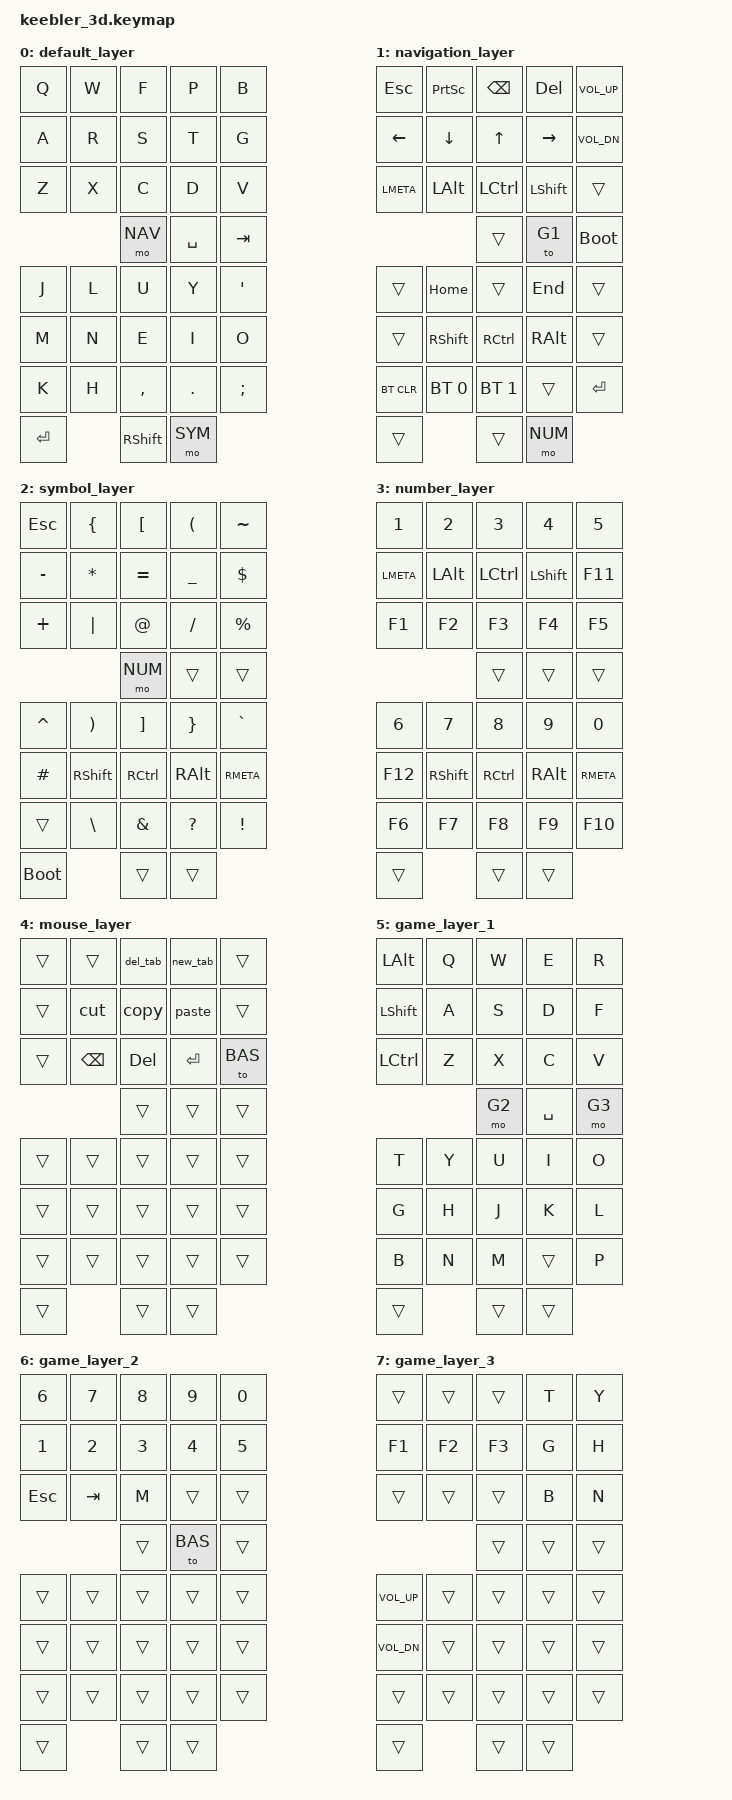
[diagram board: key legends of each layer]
#include <behaviors.dtsi>
#include <dt-bindings/zmk/keys.h>
#include <dt-bindings/zmk/bt.h>

#define BAS 0  // base
#define NAV 1  // navigation
#define SYM 2  // symbols
#define NUM 3  // numbers
#define MOU 4  // mouse
#define G1 5   // game_1
#define G2 6   // game_2
#define G3 7   // game_3

/ {
  macros {
    cut: cut {
      compatible = "zmk,behavior-macro";
      #binding-cells = <0>;
      bindings
        = <&macro_press &kp LCTRL>
        , <&macro_tap &kp X>
        , <&macro_release &kp LCTRL>
        ;
    };
    copy: copy {
      compatible = "zmk,behavior-macro";
      #binding-cells = <0>;
      bindings
        = <&macro_press &kp LCTRL>
        , <&macro_tap &kp C>
        , <&macro_release &kp LCTRL>
        ;
    };
    paste: paste {
      compatible = "zmk,behavior-macro";
      #binding-cells = <0>;
      bindings
        = <&macro_press &kp LCTRL>
        , <&macro_tap &kp V>
        , <&macro_release &kp LCTRL>
        ;
    };
    new_tab: new_tab {
      compatible = "zmk,behavior-macro";
      #binding-cells = <0>;
      bindings
        = <&macro_press &kp LCTRL>
        , <&macro_tap &kp T>
        , <&macro_release &kp LCTRL>
        ;
    };
    del_tab: del_tab {
      compatible = "zmk,behavior-macro";
      #binding-cells = <0>;
      bindings
        = <&macro_press &kp LCTRL>
        , <&macro_tap &kp W>
        , <&macro_release &kp LCTRL>
        ;
    };
  };

  keymap {
    compatible = "zmk,keymap";

    default_layer {
      bindings = <
&kp Q  &kp W  &kp F    &kp P      &kp B
&kp A  &kp R  &kp S    &kp T      &kp G
&kp Z  &kp X  &kp C    &kp D      &kp V
              &mo NAV  &kp SPACE  &kp TAB

&kp J      &kp L       &kp U      &kp Y    &kp SQT
&kp M      &kp N       &kp E      &kp I    &kp O
&kp K      &kp H       &kp COMMA  &kp DOT  &kp SEMI
&kp ENTER  &kp RSHIFT  &mo SYM
      >;
    };

    navigation_layer {
      bindings = <
&kp ESC    &kp PSCRN  &kp BSPC   &kp DEL    &kp C_VOL_UP
&kp LEFT   &kp DOWN   &kp UP     &kp RIGHT  &kp C_VOL_DN
&kp LMETA  &kp LALT   &kp LCTRL  &kp LSHFT  &trans
                      &trans     &to G1     &bootloader

&trans      &kp HOME      &trans        &kp END   &trans
&trans      &kp RSHFT     &kp RCTRL     &kp RALT  &trans
&bt BT_CLR  &bt BT_SEL 0  &bt BT_SEL 1  &trans    &kp ENTER
&trans      &trans        &mo NUM
      >;
    };

    symbol_layer {
      bindings = <
&kp ESC    &kp LBRC  &kp LBKT   &kp LPAR   &kp TILDE
&kp MINUS  &kp STAR  &kp EQUAL  &kp UNDER  &kp DLLR
&kp PLUS   &kp PIPE  &kp AT     &kp FSLH   &kp PRCNT
                     &mo NUM    &trans     &trans

&kp CARET    &kp RPAR   &kp RBKT   &kp RBRC   &kp GRAVE
&kp HASH     &kp RSHFT  &kp RCTRL  &kp RALT   &kp RMETA
&trans       &kp BSLH   &kp AMPS   &kp QMARK  &kp EXCL
&bootloader  &trans     &trans
      >;
    };

    number_layer {
      bindings = <
&kp N1     &kp N2    &kp N3     &kp N4     &kp N5
&kp LMETA  &kp LALT  &kp LCTRL  &kp LSHFT  &kp F11
&kp F1     &kp F2    &kp F3     &kp F4     &kp F5
                     &trans     &trans     &trans

&kp N6   &kp N7     &kp N8     &kp N9    &kp N0
&kp F12  &kp RSHFT  &kp RCTRL  &kp RALT  &kp RMETA
&kp F6   &kp F7     &kp F8     &kp F9    &kp F10
&trans   &trans     &trans
      >;
    };

    mouse_layer {
      bindings = <
&trans  &trans    &del_tab  &new_tab      &trans
&trans  &cut      &copy     &paste        &trans
&trans  &kp BSPC  &kp DEL   &kp ENTER     &to BAS
                            &trans &trans &trans

&trans  &trans  &trans  &trans  &trans
&trans  &trans  &trans  &trans  &trans
&trans  &trans  &trans  &trans  &trans
&trans  &trans  &trans
      >;
    };

    game_layer_1 {
      bindings = <
&kp LALT   &kp Q  &kp W  &kp E   &kp R
&kp LSHFT  &kp A  &kp S  &kp D   &kp F
&kp LCTRL  &kp Z  &kp X  &kp C   &kp V
                         &mo G2  &kp SPACE  &mo G3

&kp T   &kp Y   &kp U   &kp I   &kp O
&kp G   &kp H   &kp J   &kp K   &kp L
&kp B   &kp N   &kp M   &trans  &kp P
&trans  &trans  &trans
      >;
    };

    game_layer_2 {
      bindings = <
&kp N6   &kp N7   &kp N8  &kp N9   &kp N0
&kp N1   &kp N2   &kp N3  &kp N4   &kp N5
&kp ESC  &kp TAB  &kp M   &trans   &trans
                  &trans  &to BAS  &trans

&trans  &trans  &trans  &trans  &trans
&trans  &trans  &trans  &trans  &trans
&trans  &trans  &trans  &trans  &trans
&trans  &trans  &trans
      >;
    };

    game_layer_3 {
      bindings = <
&trans  &trans  &trans  &kp T   &kp Y
&kp F1  &kp F2  &kp F3  &kp G   &kp H
&trans  &trans  &trans  &kp B   &kp N
                &trans  &trans  &trans

&kp C_VOL_UP  &trans  &trans  &trans  &trans
&kp C_VOL_DN  &trans  &trans  &trans  &trans
&trans        &trans  &trans  &trans  &trans
&trans        &trans  &trans
      >;
    };
  };
};
